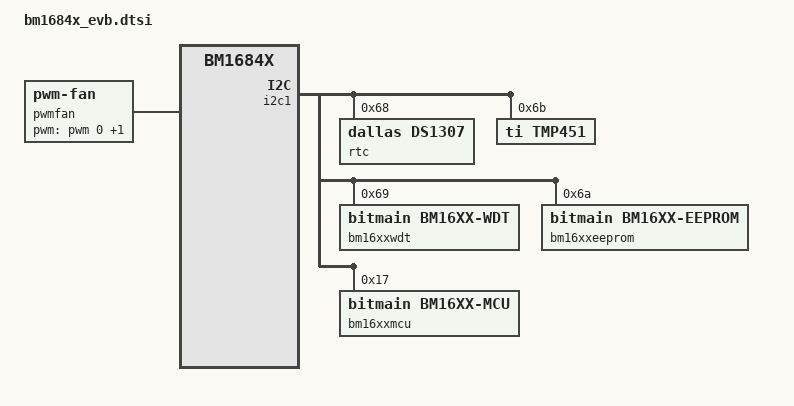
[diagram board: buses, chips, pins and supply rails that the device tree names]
&i2c1 {
	rtc@68 {
		compatible = "dallas,ds1307";
		reg = <0x68>;
	};

	/delete-node/ tmp451@4c;

	tmp451: tmp451@6b {
		compatible = "ti,tmp451";
		reg = <0x6b>;
		#thermal-sensor-cells = <1>;
		gain = "1";
		offset = "-5000";
	};

	bm16xxwdt@69 {
		compatible = "bitmain,bm16xx-wdt";
		reg = <0x69>;
		flavor = "strict";
	};

	bm16xxeeprom@6a {
		compatible = "bitmain,bm16xx-eeprom";
		reg = <0x6a>;
		size = <3072>;

		#address-cells = <1>;
		#size-cells = <1>;
		sn: sn@0000 {
			reg = <0x0000 17>;
		};
		mac0: mac0@0020 {
			reg = <0x0020 6>;
		};
		mac1: mac1@0040 {
			reg = <0x0040 6>;
		};
	};

	bm16xxmcu@17 {
		compatible = "bitmain,bm16xx-mcu";
		reg = <0x17>;

		nvmem-cells = <&sn>, <&mac0>, <&mac1>;
		nvmem-cell-names = "sn", "mac0", "mac1";
	};

};

&i2c2 {
	pinctrl-names = "default";
	pinctrl-0 = <&i2c2_acquire>;
};

&uart2 {
	pinctrl-names = "default";
	pinctrl-0 = <&uart2_acquire>;
};

&tach0 {
	pinctrl-names = "default";
	pinctrl-0 = <&fan0_acquire>;
};

&tach1 {
	pinctrl-names = "default";
	pinctrl-0 = <&fan1_acquire>;
};

&thermal_zones {
	soc {
		trips {
			soc_pwmfan_trip1: soc_pwmfan_trip@1 {
				temperature = <53000>; /* millicelsius */
				hysteresis = <8000>; /* millicelsius */
				type = "active";
			};

			soc_pwmfan_trip2: soc_pwmfan_trip@2 {
				temperature = <65000>; /* millicelsius */
				hysteresis = <12000>; /* millicelsius */
				type = "active";
			};

			soc_pwmfan_trip3: soc_pwmfan_trip@3 {
				temperature = <75000>; /* millicelsius */
				hysteresis = <10000>; /* millicelsius */
				type = "active";
			};

			soc_pwmfan_trip4: soc_pwmfan_trip@4 {
				temperature = <80000>; /* millicelsius */
				hysteresis = <5000>; /* millicelsius */
				type = "active";
			};
		};

		cooling-maps {
			map3 {
				trip = <&soc_pwmfan_trip1>;
				cooling-device = <&pwmfan 0 1>;
			};

			map4 {
				trip = <&soc_pwmfan_trip2>;
				cooling-device = <&pwmfan 1 2>;
			};

			map5 {
				trip = <&soc_pwmfan_trip3>;
				cooling-device = <&pwmfan 2 3>;
			};

			map6 {
				trip = <&soc_pwmfan_trip4>;
				cooling-device = <&pwmfan 3 4>;
			};
		};
	};
};

/ {
	pwmfan: pwm-fan {
		compatible = "pwm-fan";
		pwms = <&pwm 0 40000>, <&pwm 1 40000>; // period_ns
		pwm-names = "pwm0","pwm1";
		pwm_inuse = "pwm0";
		#cooling-cells = <2>;
		cooling-levels = <153 128 77 26 1>;  //total 255
	};

};
